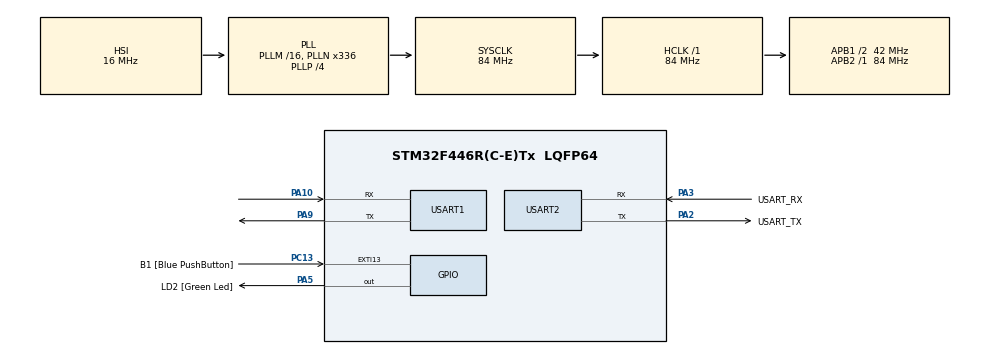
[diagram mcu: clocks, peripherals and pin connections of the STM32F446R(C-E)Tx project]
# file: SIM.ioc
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Dma.Request0=USART2_RX
Dma.USART2_RX.0.Direction=DMA_PERIPH_TO_MEMORY
Dma.USART2_RX.0.FIFOMode=DMA_FIFOMODE_DISABLE
Dma.USART2_RX.0.Instance=DMA1_Stream5
Dma.USART2_RX.0.MemDataAlignment=DMA_MDATAALIGN_BYTE
Dma.USART2_RX.0.MemInc=DMA_MINC_ENABLE
Dma.USART2_RX.0.Mode=DMA_NORMAL
Dma.USART2_RX.0.PeriphDataAlignment=DMA_PDATAALIGN_BYTE
Dma.USART2_RX.0.PeriphInc=DMA_PINC_DISABLE
Dma.USART2_RX.0.Priority=DMA_PRIORITY_LOW
Mcu.Family=STM32F4
Mcu.Name=STM32F446R(C-E)Tx
Mcu.Package=LQFP64
NVIC.DMA1_Stream5_IRQn=true\:0\:0\:false\:false\:true\:false\:true\:true
NVIC.PriorityGroup=NVIC_PRIORITYGROUP_0
NVIC.USART2_IRQn=true\:0\:0\:false\:false\:true\:true\:true\:true
PA10.Mode=Asynchronous
PA10.Signal=USART1_RX
PA13.GPIO_Label=TMS
PA13.Mode=Serial_Wire
PA13.Signal=SYS_JTMS-SWDIO
PA14.GPIO_Label=TCK
PA14.Mode=Serial_Wire
PA14.Signal=SYS_JTCK-SWCLK
PA2.GPIO_Label=USART_TX
PA2.Mode=Asynchronous
PA2.Signal=USART2_TX
PA3.GPIO_Label=USART_RX
PA3.Mode=Asynchronous
PA3.Signal=USART2_RX
PA5.GPIO_Label=LD2 [Green Led]
PA5.Signal=GPIO_Output
PA9.Mode=Asynchronous
PA9.Signal=USART1_TX
PB3.GPIO_Label=SWO
PB3.Signal=SYS_JTDO-SWO
PC13.GPIO_Label=B1 [Blue PushButton]
PC13.GPIO_ModeDefaultEXTI=GPIO_MODE_IT_FALLING
PC13.Signal=GPXTI13
PC14-OSC32_IN.Mode=LSE-External-Oscillator
PC14-OSC32_IN.Signal=RCC_OSC32_IN
PC15-OSC32_OUT.Mode=LSE-External-Oscillator
PC15-OSC32_OUT.Signal=RCC_OSC32_OUT
PH0-OSC_IN.Mode=HSE-External-Oscillator
PH0-OSC_IN.Signal=RCC_OSC_IN
PH1-OSC_OUT.Mode=HSE-External-Oscillator
PH1-OSC_OUT.Signal=RCC_OSC_OUT
ProjectManager.HeapSize=0x200
ProjectManager.StackSize=0x400
ProjectManager.TargetToolchain=STM32CubeIDE
RCC.48MHZClocksFreq_Value=84000000
RCC.AHBFreq_Value=84000000
RCC.APB1CLKDivider=RCC_HCLK_DIV2
RCC.APB1Freq_Value=42000000
RCC.APB1TimFreq_Value=84000000
RCC.APB2Freq_Value=84000000
RCC.APB2TimFreq_Value=84000000
RCC.CortexFreq_Value=84000000
RCC.FLatency-AdvancedSettings=FLASH_LATENCY_2
RCC.HCLKFreq_Value=84000000
RCC.HSE_VALUE=8000000
RCC.HSI_VALUE=16000000
RCC.PLLN=336
RCC.PLLP=RCC_PLLP_DIV4
RCC.SYSCLKFreq_VALUE=84000000
RCC.SYSCLKSource=RCC_SYSCLKSOURCE_PLLCLK
RCC.USBFreq_Value=168000000
RCC.VCOOutputFreq_Value=336000000
USART1.VirtualMode=VM_ASYNC
USART2.VirtualMode=VM_ASYNC
board=NUCLEO-F446RE

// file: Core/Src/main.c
/* USER CODE BEGIN Header */
/**
  ******************************************************************************
  * @file           : main.c
  * @brief          : Main program body
  ******************************************************************************
  * @attention
  *
  * Copyright (c) 2023 STMicroelectronics.
  * All rights reserved.
  *
  * This software is licensed under terms that can be found in the LICENSE file
  * in the root directory of this software component.
  * If no LICENSE file comes with this software, it is provided AS-IS.
  *
  ******************************************************************************
  */
/* USER CODE END Header */
#include "main.h"
#include<stdio.h>
#include<string.h>

UART_HandleTypeDef huart1;
UART_HandleTypeDef huart2;
DMA_HandleTypeDef hdma_usart2_rx;

void SystemClock_Config(void);
static void MX_GPIO_Init(void);
static void MX_DMA_Init(void);
static void MX_USART2_UART_Init(void);
static void MX_USART1_UART_Init(void);

/* USER CODE BEGIN 0 */

uint8_t buf[100];
char buf1[100];
char value[100];
char msg[100];
int _write(int file, char *ptr, int len){
	HAL_UART_Transmit(&huart2, (uint8_t*) ptr, len, HAL_MAX_DELAY);
	return len;
}
void send(int ch){						// for sending char to stm board
	while(!(USART2->SR&0X0080)){

	}
	USART2->DR = (ch);
}
void send_string(char *data){ 			// for sending string to stm board
	while(*data != 0){
		send(*data);
		data++;
	}

}
void send1(int ch){						// for sending string to sim board or any another board connected to uart1
	while(!(USART1->SR&0X0080)){

	}
	USART1->DR = (ch);
}
void send_string1(char *data){ 			// for sending string to sim board or any another board connected to uart1
	while(*data != 0){
		send1(*data);
		data++;
	}

}

int checker (char *check, char *response){   // check is command to send eg at & response is to check data recieved data from module
	unsigned int idx=0;
	memset(buf1,0,100);
	send_string(check);
	send_string1(check);

	while(1){
		  HAL_UART_Receive(&huart1, buf, 1, 1000);
			if(buf[0]!=0){
				send(buf[0]);
				buf1[idx]=buf[0];
				idx++;
				buf[0]=0;
			}
				if (strstr(buf1,response)){
				return 1;
				}

	}
}
/* USER CODE END 0 */

int main(void)
{
  /* USER CODE BEGIN 1 */
//uint8_t word;
  /* USER CODE END 1 */

  /* MCU Configuration--------------------------------------------------------*/

  /* Reset of all peripherals, Initializes the Flash interface and the Systick. */
  HAL_Init();

  /* Configure the system clock */
  SystemClock_Config();

  /* Initialize all configured peripherals */
  MX_GPIO_Init();
  MX_DMA_Init();
  MX_USART2_UART_Init();
  MX_USART1_UART_Init();

  /* Infinite loop */
  while (1)
  {
	  if (checker("","PB DONE")==1){
		  printf("\n");
		  if(checker("at\r\n","OK")==1){
			  printf("\nAT verified\n");
		  }
		  HAL_Delay(1000);

		  if(checker("at+creg?\r\n","OK")==1){
			  printf("\nNetwork Registered\n");
		  }
		  HAL_Delay(1000);

		  if(checker("at+csq\r\n","OK")==1){
			  strcpy(value,buf1);
			  printf("\nSignal Strength Checked\n");
			  HAL_Delay(1000);
		  }
		  if(value[17]>=1 && value[18]>=6){
			  if(checker("at+cmgf?\r\n","OK")==1){
				  printf("\nMsg service is ready to send\n");
			  }
			  HAL_Delay(1000);

			  if(checker("at+cmgs=?\r\n","OK")==1){
				  printf("\nMsg can be sent\n");
			  }
			  HAL_Delay(1000);

			  if(checker("at+cmgf=1\r\n","OK")==1){
				  printf("\ntext mode selected\n");
			  }
			  HAL_Delay(1000);

			  if(checker("at+cmgs=\"+4915753123588\"\r",">")==1){
				  HAL_Delay(1000);
				  sprintf(msg,"Hello%c",0x1a);
//				  send_string1(buf1);
//				  send_string(buf1);
				  if(checker(msg,"+CMGS")==1){
					  printf("\nMessage sent succesfully\n");
				  }
			  }
		  }
	  }

	while(1){

	}

  }
  /* USER CODE END 3 */
}

void SystemClock_Config(void)
{
  RCC_OscInitTypeDef RCC_OscInitStruct = {0};
  RCC_ClkInitTypeDef RCC_ClkInitStruct = {0};

  /** Configure the main internal regulator output voltage
  */
  __HAL_RCC_PWR_CLK_ENABLE();
  __HAL_PWR_VOLTAGESCALING_CONFIG(PWR_REGULATOR_VOLTAGE_SCALE3);

  /** Initializes the RCC Oscillators according to the specified parameters
  * in the RCC_OscInitTypeDef structure.
  */
  RCC_OscInitStruct.OscillatorType = RCC_OSCILLATORTYPE_HSI;
  RCC_OscInitStruct.HSIState = RCC_HSI_ON;
  RCC_OscInitStruct.HSICalibrationValue = RCC_HSICALIBRATION_DEFAULT;
  RCC_OscInitStruct.PLL.PLLState = RCC_PLL_ON;
  RCC_OscInitStruct.PLL.PLLSource = RCC_PLLSOURCE_HSI;
  RCC_OscInitStruct.PLL.PLLM = 16;
  RCC_OscInitStruct.PLL.PLLN = 336;
  RCC_OscInitStruct.PLL.PLLP = RCC_PLLP_DIV4;
  RCC_OscInitStruct.PLL.PLLQ = 2;
  RCC_OscInitStruct.PLL.PLLR = 2;
  if (HAL_RCC_OscConfig(&RCC_OscInitStruct) != HAL_OK)
  {
    Error_Handler();
  }

  /** Initializes the CPU, AHB and APB buses clocks
  */
  RCC_ClkInitStruct.ClockType = RCC_CLOCKTYPE_HCLK|RCC_CLOCKTYPE_SYSCLK
                              |RCC_CLOCKTYPE_PCLK1|RCC_CLOCKTYPE_PCLK2;
  RCC_ClkInitStruct.SYSCLKSource = RCC_SYSCLKSOURCE_PLLCLK;
  RCC_ClkInitStruct.AHBCLKDivider = RCC_SYSCLK_DIV1;
  RCC_ClkInitStruct.APB1CLKDivider = RCC_HCLK_DIV2;
  RCC_ClkInitStruct.APB2CLKDivider = RCC_HCLK_DIV1;

  if (HAL_RCC_ClockConfig(&RCC_ClkInitStruct, FLASH_LATENCY_2) != HAL_OK)
  {
    Error_Handler();
  }
}

static void MX_USART1_UART_Init(void)
{

  huart1.Instance = USART1;
  huart1.Init.BaudRate = 115200;
  huart1.Init.WordLength = UART_WORDLENGTH_8B;
  huart1.Init.StopBits = UART_STOPBITS_1;
  huart1.Init.Parity = UART_PARITY_NONE;
  huart1.Init.Mode = UART_MODE_TX_RX;
  huart1.Init.HwFlowCtl = UART_HWCONTROL_NONE;
  huart1.Init.OverSampling = UART_OVERSAMPLING_16;
  if (HAL_UART_Init(&huart1) != HAL_OK)
  {
    Error_Handler();
  }

}

static void MX_USART2_UART_Init(void)
{

  huart2.Instance = USART2;
  huart2.Init.BaudRate = 115200;
  huart2.Init.WordLength = UART_WORDLENGTH_8B;
  huart2.Init.StopBits = UART_STOPBITS_1;
  huart2.Init.Parity = UART_PARITY_NONE;
  huart2.Init.Mode = UART_MODE_TX_RX;
  huart2.Init.HwFlowCtl = UART_HWCONTROL_NONE;
  huart2.Init.OverSampling = UART_OVERSAMPLING_16;
  if (HAL_UART_Init(&huart2) != HAL_OK)
  {
    Error_Handler();
  }

}

static void MX_DMA_Init(void)
{

  /* DMA controller clock enable */
  __HAL_RCC_DMA1_CLK_ENABLE();

  /* DMA interrupt init */
  /* DMA1_Stream5_IRQn interrupt configuration */
  HAL_NVIC_SetPriority(DMA1_Stream5_IRQn, 0, 0);
  HAL_NVIC_EnableIRQ(DMA1_Stream5_IRQn);

}

static void MX_GPIO_Init(void)
{
  GPIO_InitTypeDef GPIO_InitStruct = {0};

  /* GPIO Ports Clock Enable */
  __HAL_RCC_GPIOC_CLK_ENABLE();
  __HAL_RCC_GPIOH_CLK_ENABLE();
  __HAL_RCC_GPIOA_CLK_ENABLE();
  __HAL_RCC_GPIOB_CLK_ENABLE();

  /*Configure GPIO pin Output Level */
  HAL_GPIO_WritePin(LD2_GPIO_Port, LD2_Pin, GPIO_PIN_RESET);

  /*Configure GPIO pin : B1_Pin */
  GPIO_InitStruct.Pin = B1_Pin;
  GPIO_InitStruct.Mode = GPIO_MODE_IT_FALLING;
  GPIO_InitStruct.Pull = GPIO_NOPULL;
  HAL_GPIO_Init(B1_GPIO_Port, &GPIO_InitStruct);

  /*Configure GPIO pin : LD2_Pin */
  GPIO_InitStruct.Pin = LD2_Pin;
  GPIO_InitStruct.Mode = GPIO_MODE_OUTPUT_PP;
  GPIO_InitStruct.Pull = GPIO_NOPULL;
  GPIO_InitStruct.Speed = GPIO_SPEED_FREQ_LOW;
  HAL_GPIO_Init(LD2_GPIO_Port, &GPIO_InitStruct);

}

void Error_Handler(void)
{
  __disable_irq();
  while (1)
  {
  }
}
